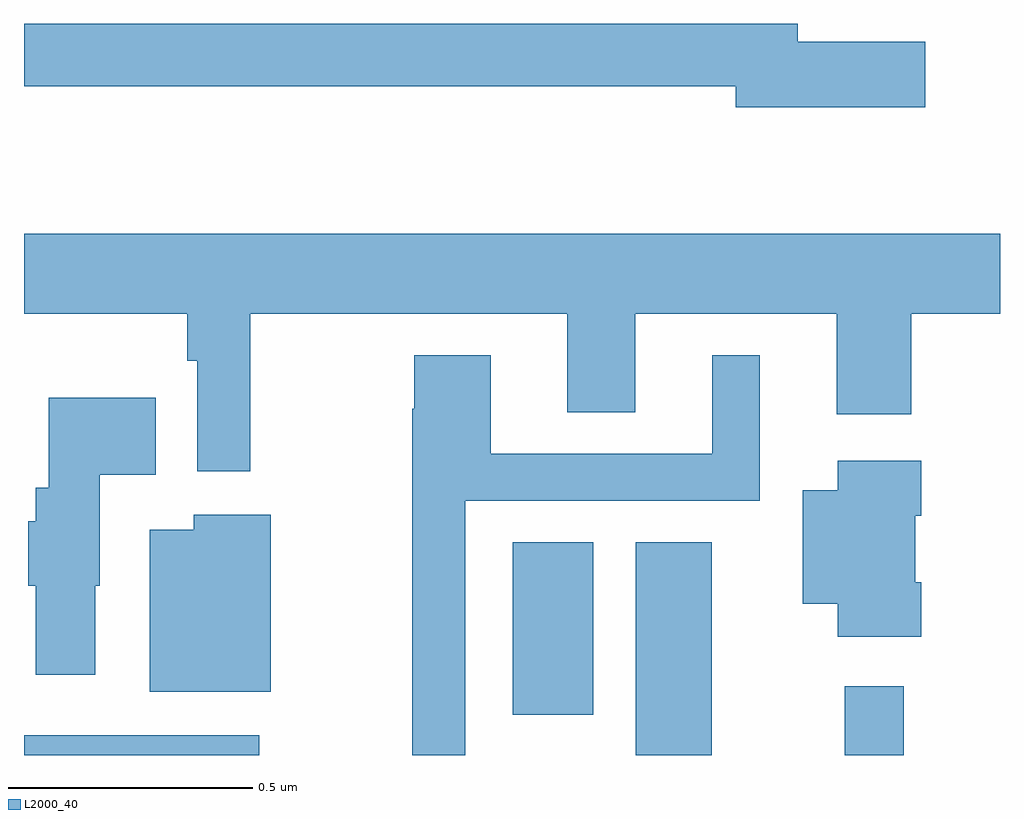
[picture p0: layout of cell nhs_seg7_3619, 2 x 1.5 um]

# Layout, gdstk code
import gdstk
lib = gdstk.Library(unit=1e-6, precision=1e-09)
def R(c, l, rs):  # rectangles x0, y0, x1, y1
    for r in rs: c.add(gdstk.rectangle(r[:2], r[2:], *l))
def P(c, l, *ps):  # polygons
    for p in ps: c.add(gdstk.Polygon(p, *l))
L2000_40 = (2000, 40)

nhs_seg7_3619 = lib.new_cell('nhs_seg7_3619')
R(nhs_seg7_3619, L2000_40, [(161,1045,161.482,1045.041), (162.254,1045,162.409,1045.436), (162.682,1045,162.803,1045.141), (162.002,1045.083,162.166,1045.436)])
P(nhs_seg7_3619, L2000_40, [(162.847,1046.462),(162.586,1046.462),(162.586,1046.498),(161,1046.498),(161,1046.37),(162.458,1046.37),(162.458,1046.327),(162.847,1046.327)],
  [(161.464,1045.904),(162.113,1045.904),(162.113,1045.702),(162.253,1045.702),(162.253,1045.904),(162.665,1045.904),(162.665,1045.698),(162.818,1045.698),(162.818,1045.904),(163,1045.904),(163,1046.068),(161,1046.068),(161,1045.904),(161.335,1045.904),(161.335,1045.808),(161.355,1045.808),(161.355,1045.581),(161.464,1045.581)],
  [(161.904,1045.521),(162.508,1045.521),(162.508,1045.819),(162.41,1045.819),(162.41,1045.617),(161.956,1045.617),(161.956,1045.819),(161.8,1045.819),(161.8,1045.71),(161.796,1045.71),(161.796,1045),(161.904,1045)],
  [(161.146,1045.347),(161.155,1045.347),(161.155,1045.574),(161.27,1045.574),(161.27,1045.732),(161.051,1045.732),(161.051,1045.548),(161.024,1045.548),(161.024,1045.479),(161.009,1045.479),(161.009,1045.347),(161.024,1045.347),(161.024,1045.164),(161.146,1045.164)],
  [(162.839,1045.354),(162.826,1045.354),(162.826,1045.49),(162.839,1045.49),(162.839,1045.603),(162.668,1045.603),(162.668,1045.543),(162.596,1045.543),(162.596,1045.31),(162.668,1045.31),(162.668,1045.242),(162.839,1045.242)],
  [(161.506,1045.492),(161.348,1045.492),(161.348,1045.462),(161.258,1045.462),(161.258,1045.13),(161.506,1045.13)])

lib.write_gds('nhs_seg7_3619.gds')
